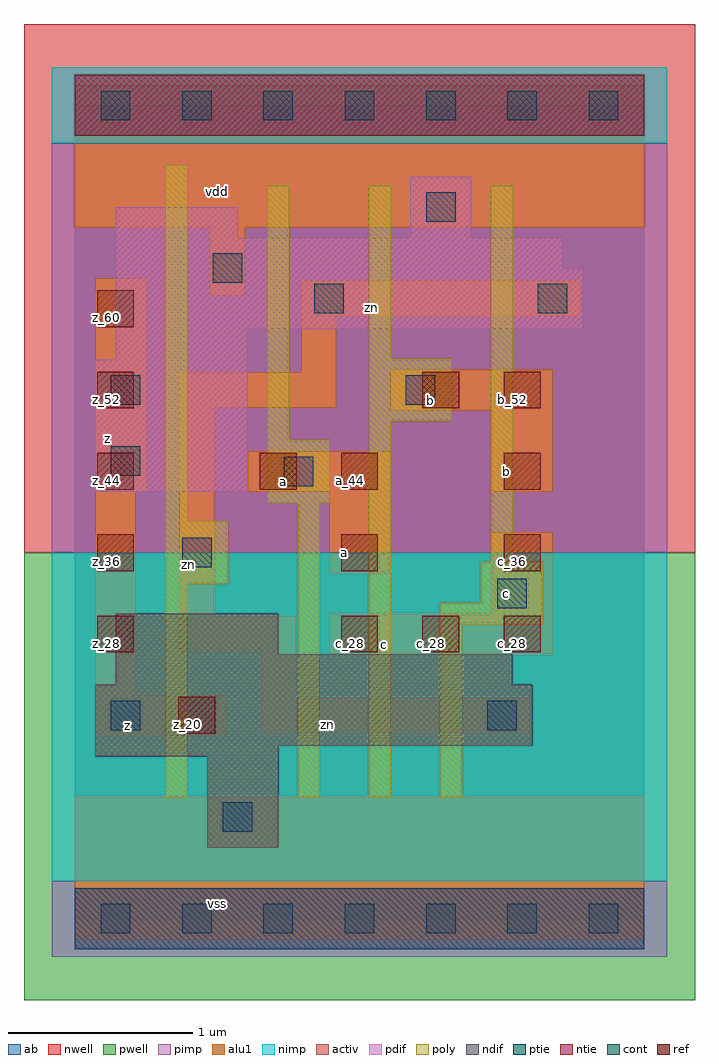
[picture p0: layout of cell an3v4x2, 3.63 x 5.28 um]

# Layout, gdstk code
import gdstk
lib = gdstk.Library(unit=1e-6, precision=2.5e-09)
def R(c, l, rs):  # rectangles x0, y0, x1, y1
    for r in rs: c.add(gdstk.rectangle(r[:2], r[2:], *l))
def A(c, l, x, y, w, h, nx, ny, dx, dy):  # array of equal rectangles
    R(c, l, [(x+i*dx, y+j*dy, x+i*dx+w, y+j*dy+h) for i in range(nx) for j in range(ny)])
ndif = (3, 0)
pdif = (4, 0)
ntie = (5, 0)
ptie = (6, 0)
ref = (24, 0)
cont = (25, 0)
pwell = (41, 0)
nwell = (42, 0)
activ = (43, 0)
pimp = (44, 0)
nimp = (45, 0)
poly = (46, 0)
alu1 = (49, 0)
ab = (63, 0)

an3v4x2 = lib.new_cell('an3v4x2')
R(an3v4x2, ndif, [(0.715,0.385,1.1,0.88), (0.11,0.88,1.1,0.935), (0.11,0.935,2.475,1.265), (0.22,1.265,2.365,1.43), (0.22,1.43,1.1,1.65)])
R(an3v4x2, pdif, [(0.11,2.31,0.935,3.025), (0.22,3.025,0.935,3.19), (0.22,3.19,2.75,3.52), (0.22,3.52,2.64,3.685), (0.22,3.685,0.88,3.85), (1.815,3.685,2.145,4.015)])
R(an3v4x2, ntie, [(0,4.235,3.08,4.565)])
R(an3v4x2, ptie, [(0,-0.165,3.08,0.165)])
A(an3v4x2, ref, 0.12, 1.44, 0.2, 0.2, 1, 5, 0, 0.44)
A(an3v4x2, ref, 1.44, 1.44, 0.2, 0.2, 3, 1, 0.44, 0)
A(an3v4x2, ref, 2.32, 1.88, 0.2, 0.2, 1, 3, 0, 0.44)
R(an3v4x2, ref, [(0.56,1,0.76,1.2), (1.44,1.88,1.64,2.08), (1,2.32,1.2,2.52), (1.44,2.32,1.64,2.52), (1.88,2.76,2.08,2.96)])
A(an3v4x2, cont, 0.14, -0.08, 0.16, 0.16, 7, 2, 0.44, 4.4)
R(an3v4x2, cont, [(0.8,0.47,0.96,0.63), (0.195,1.02,0.355,1.18), (2.23,1.02,2.39,1.18), (2.285,1.68,2.445,1.84), (0.58,1.9,0.74,2.06), (1.13,2.34,1.29,2.5), (0.195,2.395,0.355,2.555), (0.195,2.78,0.355,2.94), (1.79,2.78,1.95,2.94), (1.295,3.275,1.455,3.435), (2.505,3.275,2.665,3.435), (0.745,3.44,0.905,3.6), (1.9,3.77,2.06,3.93)])
R(an3v4x2, pwell, [(-0.275,-0.44,3.355,1.98)])
R(an3v4x2, nwell, [(-0.275,1.98,3.355,4.84)])
R(an3v4x2, activ, [(0,-0.165,3.08,0.165), (0.715,0.385,1.1,0.88), (0.11,0.88,1.1,0.935), (0.11,0.935,2.475,1.265), (0.22,1.265,2.365,1.43), (0.22,1.43,1.1,1.65), (0.11,2.31,0.935,3.025), (0.22,3.025,0.935,3.19), (0.22,3.19,2.75,3.52), (0.22,3.52,2.64,3.685), (0.22,3.685,0.88,3.85), (1.815,3.685,2.145,4.015), (0,4.235,3.08,4.565)])
R(an3v4x2, pimp, [(-0.125,-0.205,3.205,0.205), (-0.125,1.98,3.205,4.195)])
R(an3v4x2, nimp, [(-0.125,0.205,3.205,1.98), (-0.125,4.195,3.205,4.605)])
R(an3v4x2, poly, [(0.49,0.655,0.61,1.81), (1.205,0.655,1.325,2.25), (1.59,0.655,1.71,2.69), (1.975,0.655,2.095,1.59), (1.975,1.59,2.535,1.71), (2.195,1.71,2.535,1.93), (0.49,1.81,0.83,2.15), (2.25,1.93,2.37,3.965), (0.49,2.15,0.61,4.075), (1.04,2.25,1.38,2.59), (1.04,2.59,1.16,3.965), (1.59,2.69,2.04,3.03), (1.59,3.03,1.71,3.965)])
R(an3v4x2, alu1, [(0,-0.11,3.08,0.66), (0.11,0.99,0.825,1.21), (1.005,1.005,2.46,1.195), (1.005,1.195,1.195,1.445), (0.11,1.21,0.33,2.31), (1.375,1.43,2.585,1.65), (0.565,1.445,1.195,1.635), (0.565,1.635,0.755,2.765), (2.255,1.65,2.585,2.09), (1.375,1.87,1.705,2.31), (0.11,2.31,0.385,3.465), (0.935,2.31,1.705,2.53), (2.255,2.31,2.585,2.75), (1.705,2.75,2.585,2.97), (0.565,2.765,1.415,2.955), (1.225,2.955,1.415,3.26), (1.225,3.26,2.735,3.45), (0.73,3.37,0.92,3.74), (0,3.74,3.08,4.51)])
R(an3v4x2, ab, [(0,0,3.08,4.4)])
an3v4x2.add(gdstk.Label('vss', (0.77,0.0825), layer=49, texttype=0))
an3v4x2.add(gdstk.Label('zn', (1.3675,1.0525), layer=49, texttype=0))
an3v4x2.add(gdstk.Label('c', (1.6775,1.485), layer=49, texttype=0))
an3v4x2.add(gdstk.Label('z', (0.2875,1.045), layer=49, texttype=0))
an3v4x2.add(gdstk.Label('c', (2.3375,1.76), layer=49, texttype=0))
an3v4x2.add(gdstk.Label('a', (1.4575,1.98), layer=49, texttype=0))
an3v4x2.add(gdstk.Label('b', (2.3375,2.42), layer=49, texttype=0))
an3v4x2.add(gdstk.Label('a', (1.1275,2.365), layer=49, texttype=0))
an3v4x2.add(gdstk.Label('b', (1.925,2.805), layer=49, texttype=0))
an3v4x2.add(gdstk.Label('zn', (0.6125,1.9175), layer=49, texttype=0))
an3v4x2.add(gdstk.Label('zn', (1.6025,3.3075), layer=49, texttype=0))
an3v4x2.add(gdstk.Label('z', (0.1775,2.5975), layer=49, texttype=0))
an3v4x2.add(gdstk.Label('vdd', (0.77,3.9325), layer=49, texttype=0))
an3v4x2.add(gdstk.Label('z_20', (0.61,1.05), layer=24, texttype=0))
an3v4x2.add(gdstk.Label('a_44', (1.05,2.37), layer=24, texttype=0))
an3v4x2.add(gdstk.Label('c_28', (1.49,1.49), layer=24, texttype=0))
an3v4x2.add(gdstk.Label('a_36', (1.49,1.93), layer=24, texttype=0))
an3v4x2.add(gdstk.Label('a_44', (1.49,2.37), layer=24, texttype=0))
an3v4x2.add(gdstk.Label('c_28', (1.93,1.49), layer=24, texttype=0))
an3v4x2.add(gdstk.Label('b_52', (1.93,2.81), layer=24, texttype=0))
an3v4x2.add(gdstk.Label('z_28', (0.17,1.49), layer=24, texttype=0))
an3v4x2.add(gdstk.Label('z_36', (0.17,1.93), layer=24, texttype=0))
an3v4x2.add(gdstk.Label('z_44', (0.17,2.37), layer=24, texttype=0))
an3v4x2.add(gdstk.Label('z_52', (0.17,2.81), layer=24, texttype=0))
an3v4x2.add(gdstk.Label('z_60', (0.17,3.25), layer=24, texttype=0))
an3v4x2.add(gdstk.Label('c_28', (2.37,1.49), layer=24, texttype=0))
an3v4x2.add(gdstk.Label('c_36', (2.37,1.93), layer=24, texttype=0))
an3v4x2.add(gdstk.Label('b_44', (2.37,2.37), layer=24, texttype=0))
an3v4x2.add(gdstk.Label('b_52', (2.37,2.81), layer=24, texttype=0))

lib.write_gds('an3v4x2.gds')
